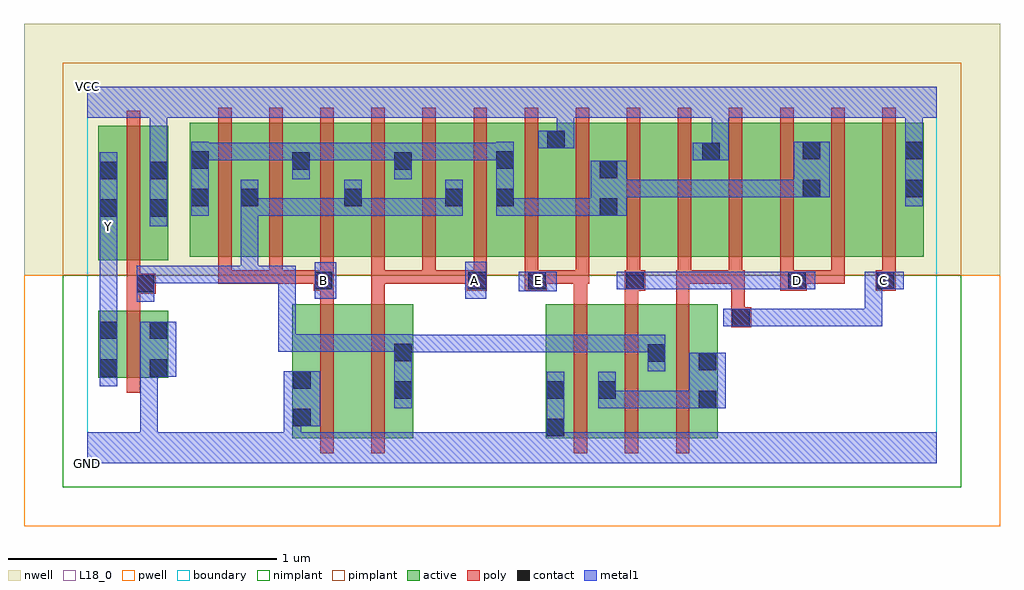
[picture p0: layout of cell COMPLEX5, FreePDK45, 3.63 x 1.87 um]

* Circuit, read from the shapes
.subckt COMPLEX5 A B C D E GND VCC Y
M1 GND n1 Y VSUBS nfet w=0.25u l=0.05u
M2 n2 B GND VSUBS nfet w=0.5u l=0.05u
M3 n1 A n2 VSUBS nfet w=0.5u l=0.05u
M4 n3 E GND VSUBS nfet w=0.5u l=0.05u
M5 n1 D n3 VSUBS nfet w=0.5u l=0.05u
M6 n3 C n1 VSUBS nfet w=0.5u l=0.05u
M7 VCC n1 Y n4 pfet w=0.5u l=0.05u
M8 n1 B n5 n4 pfet w=0.5u l=0.05u m=3
M9 n5 A n1 n4 pfet w=0.5u l=0.05u m=3
M10 VCC E n5 n4 pfet w=0.5u l=0.05u m=2
M11 n6 D n5 n4 pfet w=0.5u l=0.05u
M12 VCC C n6 n4 pfet w=0.5u l=0.05u
M13 n7 C VCC n4 pfet w=0.5u l=0.05u
M14 n5 D n7 n4 pfet w=0.5u l=0.05u
M15 n8 D n5 n4 pfet w=0.5u l=0.05u
M16 VCC C n8 n4 pfet w=0.5u l=0.05u
.ends

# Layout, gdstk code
import gdstk
lib = gdstk.Library(unit=1e-6, precision=1e-09)
def R(c, l, rs):  # rectangles x0, y0, x1, y1
    for r in rs: c.add(gdstk.rectangle(r[:2], r[2:], *l))
def A(c, l, x, y, w, h, nx, ny, dx, dy):  # array of equal rectangles
    R(c, l, [(x+i*dx, y+j*dy, x+i*dx+w, y+j*dy+h) for i in range(nx) for j in range(ny)])
active = (1, 0)
pwell = (2, 0)
nwell = (3, 0)
nimplant = (4, 0)
pimplant = (5, 0)
poly = (9, 0)
contact = (10, 0)
metal1 = (11, 0)
L18_0 = (18, 0)
boundary = (235, 0)

complex5 = lib.new_cell('COMPLEX5')
A(complex5, active, 1.137, 0.767, 0.265, 0.5, 3, 1, 0.19, 0)
R(complex5, active, [(0.762,0.092,0.987,0.592), (0.987,0.092,1.212,0.592), (1.705,0.092,1.97,0.592), (1.705,0.092,1.78,0.592), (1.895,0.092,2.155,0.592), (2.08,0.092,2.345,0.592), (0.762,0.132,0.837,0.592), (1.137,0.145,1.212,0.592), (1.895,0.145,1.97,0.592), (2.08,0.145,2.155,0.592), (2.27,0.145,2.345,0.592), (0.042,0.317,0.117,0.567), (0.042,0.317,0.302,0.567), (0.227,0.317,0.302,0.567), (0.042,0.755,0.302,1.255), (0.042,0.755,0.117,1.2), (0.227,0.755,0.302,1.255), (0.382,0.767,0.642,1.267), (0.382,0.767,0.457,1.2), (0.567,0.767,0.832,1.267), (0.567,0.767,0.642,1.07), (0.757,0.767,1.027,1.267), (0.952,0.767,1.212,1.267), (0.952,0.767,1.027,1.07), (1.137,0.767,1.212,1.2), (1.327,0.767,1.402,1.07), (1.517,0.767,1.592,1.2), (1.707,0.767,1.782,1.267), (1.707,0.767,1.977,1.267), (1.902,0.767,2.127,1.267), (1.902,0.767,1.977,1.2), (2.127,0.767,2.357,1.267), (2.282,0.767,2.357,1.267), (2.282,0.767,2.507,1.267), (2.507,0.767,2.732,1.267), (2.657,0.767,2.887,1.267), (2.657,0.767,2.732,1.2), (2.887,0.767,3.112,1.267), (3.037,0.767,3.112,1.267), (0.757,0.807,0.832,1.2)])
R(complex5, pwell, [(-0.235,-0.235,3.395,0.7)])
R(complex5, nwell, [(-0.235,0.7,3.395,1.635)])
R(complex5, nimplant, [(-0.09,-0.09,3.25,0.7)])
R(complex5, pimplant, [(-0.09,0.7,3.25,1.49)])
A(complex5, poly, 1.81, 0.037, 0.05, 0.61, 3, 1, 0.19, 0)
A(complex5, poly, 0.487, 0.667, 0.05, 0.095, 14, 1, 0.19, 0)
A(complex5, poly, 0.487, 0.712, 0.05, 0.61, 14, 1, 0.19, 0)
R(complex5, poly, [(0.867,0.037,0.917,0.647), (1.057,0.037,1.107,0.647), (0.147,0.262,0.197,0.622), (2.395,0.505,2.47,0.58), (2.395,0.53,2.445,0.717), (0.147,0.572,0.197,0.68), (0.867,0.597,0.917,0.692), (1.057,0.597,1.107,0.717), (1.81,0.597,1.86,0.717), (2,0.597,2.05,0.692), (2.19,0.597,2.24,0.717), (0.147,0.63,0.255,0.705), (0.842,0.642,0.917,0.717), (1.412,0.642,1.487,0.717), (1.627,0.642,1.71,0.717), (2,0.642,2.075,0.717), (2.577,0.642,2.677,0.717), (2.932,0.642,3.007,0.717), (0.147,0.655,0.197,0.75), (0.487,0.667,0.537,0.717), (0.487,0.667,0.537,0.717), (0.487,0.667,0.537,0.717), (0.487,0.667,0.727,0.717), (0.677,0.667,0.727,0.717), (0.677,0.667,0.727,0.717), (0.677,0.667,0.727,0.717), (0.677,0.667,0.892,0.717), (1.057,0.667,1.107,0.717), (1.057,0.667,1.107,0.717), (1.057,0.667,1.107,0.717), (1.057,0.667,1.297,0.717), (1.247,0.667,1.297,0.717), (1.247,0.667,1.462,0.717), (1.412,0.667,1.462,0.717), (1.412,0.667,1.462,0.717), (1.66,0.667,1.86,0.717), (1.81,0.667,1.86,0.717), (1.81,0.667,1.86,0.717), (1.81,0.667,1.867,0.717), (2.19,0.667,2.247,0.717), (2.197,0.667,2.247,0.717), (2.197,0.667,2.247,0.717), (2.197,0.667,2.437,0.717), (2.387,0.667,2.445,0.717), (2.395,0.667,2.445,0.717), (2.395,0.667,2.445,0.717), (2.627,0.667,2.817,0.717), (2.627,0.667,2.677,0.717), (2.627,0.667,2.677,0.717), (2.767,0.667,2.817,0.717), (0.147,0.7,0.197,1.31)])
R(complex5, contact, [(1.71,0.1,1.775,0.165), (0.767,0.137,0.832,0.202), (2.275,0.205,2.34,0.27), (1.142,0.24,1.207,0.305), (1.71,0.24,1.775,0.305), (1.9,0.24,1.965,0.305), (0.767,0.277,0.832,0.342), (0.047,0.322,0.112,0.387), (0.232,0.322,0.297,0.387), (2.275,0.345,2.34,0.41), (2.085,0.377,2.15,0.442), (1.142,0.38,1.207,0.445), (0.047,0.462,0.112,0.527), (0.232,0.462,0.297,0.527), (2.4,0.51,2.465,0.575), (0.185,0.635,0.25,0.7), (0.847,0.647,0.912,0.712), (1.417,0.647,1.482,0.712), (1.64,0.647,1.705,0.712), (2.005,0.647,2.07,0.712), (2.607,0.647,2.672,0.712), (2.937,0.647,3.002,0.712), (0.047,0.917,0.112,0.982), (0.232,0.917,0.297,0.982), (1.907,0.92,1.972,0.985), (0.387,0.955,0.452,1.02), (0.572,0.955,0.637,1.02), (0.957,0.955,1.022,1.02), (1.332,0.955,1.397,1.02), (1.522,0.955,1.587,1.02), (2.662,0.99,2.727,1.055), (3.042,0.99,3.107,1.055), (0.047,1.057,0.112,1.122), (0.232,1.057,0.297,1.122), (1.907,1.06,1.972,1.125), (0.762,1.092,0.827,1.157), (1.142,1.092,1.207,1.157), (0.387,1.095,0.452,1.16), (1.522,1.095,1.587,1.16), (2.287,1.127,2.352,1.192), (2.662,1.13,2.727,1.195), (3.042,1.13,3.107,1.195), (1.712,1.172,1.777,1.237)])
R(complex5, metal1, [(0,0,3.16,0.115), (0.197,0.05,0.262,0.115), (0.197,0.05,0.262,0.115), (0.197,0.05,0.262,0.387), (0.732,0.05,0.797,0.115), (0.732,0.05,0.797,0.115), (0.732,0.05,0.797,0.202), (1.71,0.05,1.775,0.13), (1.71,0.065,1.775,0.34), (1.71,0.065,1.775,0.13), (1.71,0.065,1.775,0.13), (0.732,0.137,0.867,0.342), (1.142,0.205,1.207,0.48), (1.9,0.205,1.965,0.27), (1.9,0.205,1.965,0.27), (1.9,0.205,1.965,0.34), (1.9,0.205,2.155,0.27), (2.09,0.205,2.155,0.27), (2.09,0.205,2.292,0.27), (2.227,0.205,2.292,0.27), (2.227,0.205,2.305,0.27), (2.24,0.205,2.375,0.41), (0.047,0.287,0.112,0.562), (0.197,0.322,0.262,0.387), (0.197,0.322,0.262,0.387), (0.197,0.322,0.262,0.387), (0.197,0.322,0.262,0.387), (0.197,0.322,0.332,0.527), (2.085,0.342,2.15,0.477), (1.142,0.412,1.207,0.477), (1.142,0.412,1.207,0.477), (1.142,0.412,1.45,0.477), (1.385,0.412,1.45,0.477), (1.385,0.412,1.45,0.477), (1.385,0.412,1.45,0.477), (1.385,0.412,1.587,0.477), (1.522,0.412,1.587,0.477), (1.522,0.412,1.587,0.477), (1.522,0.412,1.587,0.477), (1.522,0.412,1.8,0.477), (1.735,0.412,1.8,0.477), (1.735,0.412,1.8,0.477), (1.735,0.412,1.8,0.477), (1.735,0.412,2.012,0.477), (1.947,0.412,2.012,0.477), (1.947,0.412,2.012,0.477), (1.947,0.412,2.012,0.477), (1.947,0.412,2.15,0.477), (0.71,0.415,0.775,0.48), (0.71,0.415,0.775,0.48), (0.71,0.415,0.775,0.48), (0.71,0.415,1.07,0.48), (0.71,0.415,0.775,0.735), (1.005,0.415,1.07,0.48), (1.005,0.415,1.07,0.48), (1.005,0.415,1.07,0.48), (1.005,0.415,1.207,0.48), (0.047,0.497,0.112,0.877), (2.365,0.51,2.5,0.575), (2.435,0.51,2.5,0.575), (2.435,0.51,2.5,0.575), (2.435,0.51,2.5,0.575), (2.435,0.51,2.5,0.575), (2.435,0.51,2.682,0.575), (2.617,0.51,2.682,0.575), (2.617,0.51,2.682,0.575), (2.617,0.51,2.682,0.575), (2.617,0.51,2.82,0.575), (2.755,0.51,2.82,0.575), (2.755,0.51,2.957,0.575), (2.892,0.51,2.957,0.575), (2.892,0.51,2.957,0.712), (0.185,0.6,0.25,0.735), (0.847,0.612,0.927,0.747), (1.407,0.612,1.485,0.75), (1.605,0.64,1.747,0.712), (1.97,0.647,2.105,0.712), (2.04,0.647,2.155,0.712), (2.09,0.647,2.155,0.712), (2.09,0.647,2.292,0.712), (2.227,0.647,2.292,0.712), (2.227,0.647,2.292,0.712), (2.227,0.647,2.292,0.712), (2.227,0.647,2.5,0.712), (2.435,0.647,2.5,0.712), (2.435,0.647,2.5,0.712), (2.435,0.647,2.5,0.712), (2.435,0.647,2.637,0.712), (2.572,0.647,2.707,0.712), (2.892,0.647,2.957,0.712), (2.892,0.647,2.957,0.712), (2.892,0.647,3.037,0.712), (0.185,0.67,0.25,0.735), (0.185,0.67,0.25,0.735), (0.185,0.67,0.5,0.735), (0.435,0.67,0.5,0.735), (0.435,0.67,0.5,0.735), (0.435,0.67,0.5,0.735), (0.435,0.67,0.637,0.735), (0.572,0.67,0.637,0.735), (0.572,0.67,0.637,0.735), (0.572,0.67,0.637,0.735), (0.572,0.67,0.775,0.735), (0.572,0.67,0.637,0.985), (0.71,0.67,0.775,0.735), (0.047,0.812,0.112,0.947), (0.047,0.882,0.112,1.157), (0.047,0.882,0.112,0.947), (0.232,0.882,0.297,1.157), (0.387,0.92,0.452,1.195), (0.572,0.92,0.637,0.985), (0.572,0.92,0.637,0.985), (0.572,0.92,0.637,1.055), (0.572,0.92,0.827,0.985), (0.762,0.92,0.827,0.985), (0.762,0.92,0.827,0.985), (0.762,0.92,0.827,0.985), (0.762,0.92,1.022,0.985), (0.957,0.92,1.022,0.985), (0.957,0.92,1.022,0.985), (0.957,0.92,1.022,1.055), (0.957,0.92,1.207,0.985), (1.142,0.92,1.207,0.985), (1.142,0.92,1.207,0.985), (1.142,0.92,1.207,0.985), (1.142,0.92,1.397,0.985), (1.332,0.92,1.397,1.055), (1.522,0.92,1.587,1.195), (1.522,0.92,1.587,0.985), (1.522,0.92,1.587,0.985), (1.522,0.92,1.587,0.985), (1.522,0.92,1.587,0.985), (1.522,0.92,1.725,0.985), (1.66,0.92,1.725,0.985), (1.66,0.92,1.725,0.985), (1.66,0.92,1.725,0.985), (1.66,0.92,1.937,0.985), (1.872,0.92,2.007,1.125), (3.042,0.955,3.107,1.23), (1.942,0.99,2.15,1.055), (2.085,0.99,2.15,1.055), (2.085,0.99,2.15,1.055), (2.085,0.99,2.15,1.055), (2.085,0.99,2.292,1.055), (2.227,0.99,2.292,1.055), (2.227,0.99,2.292,1.055), (2.227,0.99,2.292,1.055), (2.227,0.99,2.5,1.055), (2.435,0.99,2.5,1.055), (2.435,0.99,2.5,1.055), (2.435,0.99,2.5,1.055), (2.435,0.99,2.637,1.055), (2.572,0.99,2.637,1.055), (2.572,0.99,2.692,1.055), (2.627,0.99,2.762,1.195), (0.762,1.057,0.827,1.192), (1.142,1.057,1.207,1.192), (0.232,1.092,0.297,1.35), (0.387,1.127,0.452,1.192), (0.387,1.127,0.452,1.192), (0.387,1.127,0.637,1.192), (0.572,1.127,0.637,1.192), (0.572,1.127,0.637,1.192), (0.572,1.127,0.637,1.192), (0.572,1.127,0.827,1.192), (0.762,1.127,0.827,1.192), (0.762,1.127,0.827,1.192), (0.762,1.127,0.965,1.192), (0.9,1.127,0.965,1.192), (0.9,1.127,0.965,1.192), (0.9,1.127,0.965,1.192), (0.9,1.127,1.207,1.192), (1.142,1.127,1.207,1.192), (1.142,1.127,1.207,1.192), (1.142,1.127,1.345,1.192), (1.28,1.127,1.345,1.192), (1.28,1.127,1.345,1.192), (1.28,1.127,1.345,1.192), (1.28,1.127,1.587,1.192), (2.252,1.127,2.387,1.192), (2.322,1.127,2.387,1.35), (3.042,1.165,3.107,1.35), (1.677,1.172,1.812,1.237), (1.747,1.172,1.812,1.35), (0,1.285,3.16,1.4)])
R(complex5, L18_0, [(0,0,3.16,0.115), (0.197,0.05,0.262,0.115), (0.197,0.05,0.262,0.115), (0.197,0.05,0.262,0.387), (0.732,0.05,0.797,0.115), (0.732,0.05,0.797,0.115), (0.732,0.05,0.797,0.202), (1.71,0.05,1.775,0.13), (1.71,0.065,1.775,0.34), (1.71,0.065,1.775,0.13), (1.71,0.065,1.775,0.13), (0.732,0.137,0.867,0.342), (0.047,0.287,0.112,0.562), (0.197,0.322,0.262,0.387), (0.197,0.322,0.262,0.387), (0.197,0.322,0.262,0.387), (0.197,0.322,0.262,0.387), (0.197,0.322,0.332,0.527), (0.047,0.497,0.112,0.877), (2.365,0.51,2.5,0.575), (2.435,0.51,2.5,0.575), (2.435,0.51,2.5,0.575), (2.435,0.51,2.5,0.575), (2.435,0.51,2.5,0.575), (2.435,0.51,2.682,0.575), (2.617,0.51,2.682,0.575), (2.617,0.51,2.682,0.575), (2.617,0.51,2.682,0.575), (2.617,0.51,2.82,0.575), (2.755,0.51,2.82,0.575), (2.755,0.51,2.957,0.575), (2.892,0.51,2.957,0.575), (2.892,0.51,2.957,0.712), (0.847,0.612,0.927,0.747), (1.407,0.612,1.485,0.75), (1.605,0.64,1.747,0.712), (0.847,0.647,0.912,0.712), (1.407,0.647,1.472,0.712), (1.647,0.647,1.712,0.712), (1.97,0.647,2.105,0.712), (2.04,0.647,2.155,0.712), (2.09,0.647,2.155,0.712), (2.09,0.647,2.292,0.712), (2.227,0.647,2.292,0.712), (2.227,0.647,2.292,0.712), (2.227,0.647,2.292,0.712), (2.227,0.647,2.5,0.712), (2.435,0.647,2.5,0.712), (2.435,0.647,2.5,0.712), (2.435,0.647,2.5,0.712), (2.435,0.647,2.637,0.712), (2.572,0.647,2.707,0.712), (2.607,0.647,2.672,0.712), (2.892,0.647,2.957,0.712), (2.892,0.647,2.957,0.712), (2.892,0.647,3.037,0.712), (2.927,0.647,2.992,0.712), (0.047,0.812,0.112,0.947), (0.047,0.847,0.112,0.912), (0.047,0.882,0.112,1.157), (0.047,0.882,0.112,0.947), (0.232,0.882,0.297,1.157), (3.042,0.955,3.107,1.23), (0.232,1.092,0.297,1.35), (2.252,1.127,2.387,1.192), (2.322,1.127,2.387,1.35), (3.042,1.165,3.107,1.35), (1.677,1.172,1.812,1.237), (1.747,1.172,1.812,1.35), (0,1.285,3.16,1.4)])
R(complex5, boundary, [(0,0,3.16,1.4)])
complex5.add(gdstk.Label('A', (1.44,0.68), layer=11, texttype=0))
complex5.add(gdstk.Label('B', (0.88,0.68), layer=11, texttype=0))
complex5.add(gdstk.Label('C', (2.96,0.68), layer=11, texttype=0))
complex5.add(gdstk.Label('D', (2.64,0.68), layer=11, texttype=0))
complex5.add(gdstk.Label('E', (1.68,0.68), layer=11, texttype=0))
complex5.add(gdstk.Label('Y', (0.08,0.88), layer=11, texttype=0))
complex5.add(gdstk.Label('VCC', (0,1.4), layer=11, texttype=0))
complex5.add(gdstk.Label('GND', (0,0), layer=11, texttype=0))

lib.write_gds('COMPLEX5.gds')
